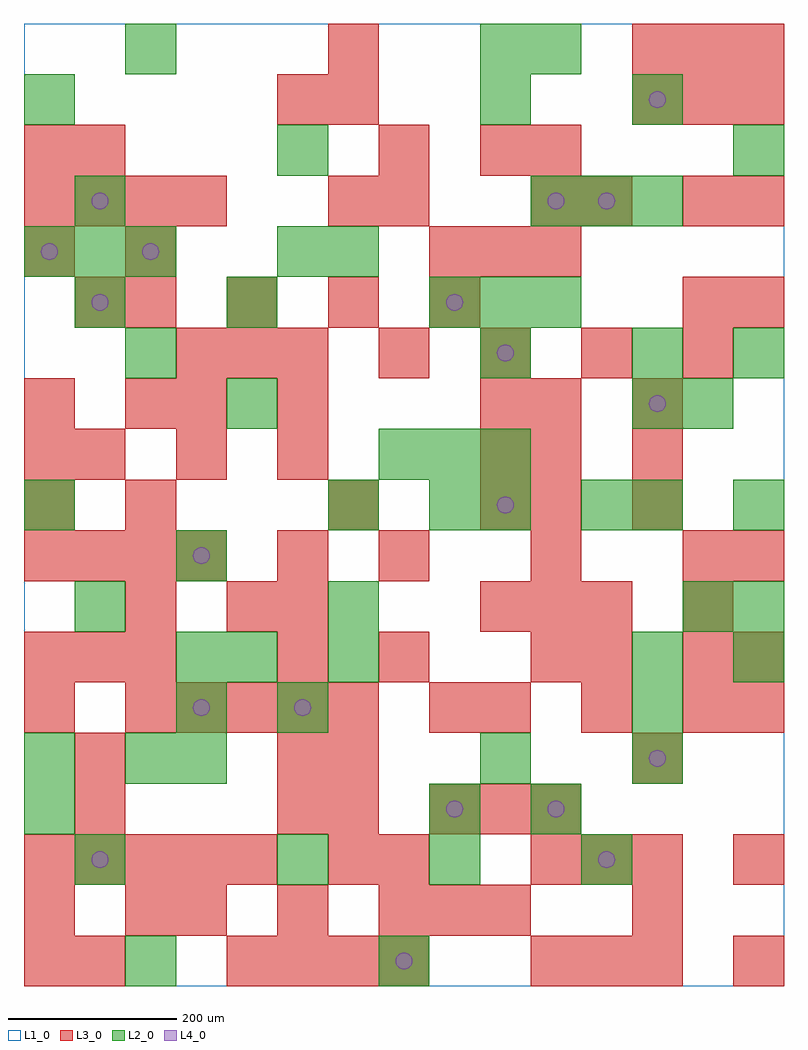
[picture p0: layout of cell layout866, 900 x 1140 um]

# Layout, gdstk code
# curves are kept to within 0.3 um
import gdstk
lib = gdstk.Library(unit=1e-6, precision=1e-09)
def R(c, l, rs):  # rectangles x0, y0, x1, y1
    for r in rs: c.add(gdstk.rectangle(r[:2], r[2:], *l))
def A(c, l, x, y, w, h, nx, ny, dx, dy):  # array of equal rectangles
    R(c, l, [(x+i*dx, y+j*dy, x+i*dx+w, y+j*dy+h) for i in range(nx) for j in range(ny)])
def P(c, l, *ps):  # polygons
    for p in ps: c.add(gdstk.Polygon(p, *l))
L1_0 = (1, 0)
L2_0 = (2, 0)
L3_0 = (3, 0)
L4_0 = (4, 0)

layout866 = lib.new_cell('layout866')
R(layout866, L1_0, [(0,0,900,1140)])
A(layout866, L2_0, 300, 120, 60, 60, 3, 1, 180, 0)
A(layout866, L2_0, 180, 240, 60, 60, 1, 3, 0, 60)
A(layout866, L2_0, 720, 240, 60, 60, 1, 3, 0, 60)
A(layout866, L2_0, 420, 600, 60, 60, 3, 1, 60, 0)
A(layout866, L2_0, 480, 780, 60, 60, 3, 1, 60, 0)
A(layout866, L2_0, 0, 840, 60, 60, 3, 1, 60, 0)
A(layout866, L2_0, 600, 900, 60, 60, 3, 1, 60, 0)
R(layout866, L2_0, [(120,0,180,60), (420,0,480,60), (60,120,120,180), (0,180,60,240), (480,180,540,240), (600,180,660,240), (0,240,60,300), (120,240,180,300), (540,240,600,300), (300,300,360,360), (240,360,300,420), (360,360,420,420), (840,360,900,420), (60,420,120,480), (360,420,420,480), (780,420,840,480), (840,420,900,480), (180,480,240,540), (0,540,60,600), (360,540,420,600), (480,540,540,600), (540,540,600,600), (660,540,720,600), (720,540,780,600), (840,540,900,600), (240,660,300,720), (720,660,780,720), (780,660,840,720), (120,720,180,780), (540,720,600,780), (720,720,780,780), (840,720,900,780), (60,780,120,840), (240,780,300,840), (300,840,360,900), (360,840,420,900), (60,900,120,960), (300,960,360,1020), (840,960,900,1020), (0,1020,60,1080), (540,1020,600,1080), (720,1020,780,1080), (120,1080,180,1140), (540,1080,600,1140), (600,1080,660,1140)])
A(layout866, L3_0, 240, 0, 60, 60, 4, 1, 60, 0)
A(layout866, L3_0, 600, 0, 60, 60, 3, 2, 60, 120)
A(layout866, L3_0, 0, 60, 60, 60, 1, 3, 0, 240)
A(layout866, L3_0, 180, 60, 60, 60, 3, 1, 120, 0)
A(layout866, L3_0, 0, 120, 60, 60, 5, 1, 60, 0)
A(layout866, L3_0, 360, 120, 60, 60, 1, 3, 0, 60)
A(layout866, L3_0, 480, 180, 60, 60, 3, 2, 60, 660)
A(layout866, L3_0, 120, 300, 60, 60, 5, 1, 60, 0)
A(layout866, L3_0, 540, 300, 60, 60, 3, 1, 120, 0)
A(layout866, L3_0, 0, 360, 60, 60, 3, 1, 60, 0)
A(layout866, L3_0, 300, 360, 60, 60, 1, 3, 0, 60)
A(layout866, L3_0, 120, 420, 60, 60, 1, 3, 0, 120)
A(layout866, L3_0, 540, 420, 60, 60, 3, 1, 60, 0)
A(layout866, L3_0, 0, 480, 60, 60, 4, 2, 60, 420)
A(layout866, L3_0, 420, 480, 60, 60, 3, 1, 180, 0)
A(layout866, L3_0, 540, 540, 60, 60, 1, 3, 0, 60)
A(layout866, L3_0, 600, 540, 60, 60, 1, 3, 0, 60)
A(layout866, L3_0, 720, 540, 60, 60, 1, 3, 0, 60)
A(layout866, L3_0, 60, 600, 60, 60, 3, 1, 120, 0)
A(layout866, L3_0, 180, 720, 60, 60, 3, 1, 60, 0)
A(layout866, L3_0, 420, 720, 60, 60, 4, 1, 120, 0)
A(layout866, L3_0, 120, 780, 60, 60, 4, 1, 120, 0)
A(layout866, L3_0, 720, 1020, 60, 60, 3, 2, 60, 60)
R(layout866, L3_0, [(0,0,60,60), (60,0,120,60), (840,0,900,60), (120,60,180,120), (480,60,540,120), (540,60,600,120), (720,60,780,120), (420,120,480,180), (840,120,900,180), (60,180,120,240), (300,180,360,240), (60,240,120,300), (300,240,360,300), (720,240,780,300), (480,300,540,360), (840,300,900,360), (420,360,480,420), (600,360,660,420), (660,360,720,420), (780,360,840,420), (840,360,900,420), (240,420,300,480), (780,420,840,480), (840,480,900,540), (360,540,420,600), (0,600,60,660), (0,660,60,720), (180,660,240,720), (300,660,360,720), (60,780,120,840), (780,780,840,840), (840,780,900,840), (0,840,60,900), (120,840,180,900), (360,900,420,960), (420,900,480,960), (600,900,660,960), (660,900,720,960), (780,900,840,960), (840,900,900,960), (0,960,60,1020), (60,960,120,1020), (420,960,480,1020), (540,960,600,1020), (600,960,660,1020), (300,1020,360,1080), (360,1020,420,1080), (360,1080,420,1140)])
P(layout866, L4_0, [(40,870),(39.239,873.827),(37.071,877.071),(33.827,879.239),(30,880),(26.173,879.239),(22.929,877.071),(20.761,873.827),(20,870),(20.761,866.173),(22.929,862.929),(26.173,860.761),(30,860),(33.827,860.761),(37.071,862.929),(39.239,866.173)],
  [(100,150),(99.239,153.827),(97.071,157.071),(93.827,159.239),(90,160),(86.173,159.239),(82.929,157.071),(80.761,153.827),(80,150),(80.761,146.173),(82.929,142.929),(86.173,140.761),(90,140),(93.827,140.761),(97.071,142.929),(99.239,146.173)],
  [(100,810),(99.239,813.827),(97.071,817.071),(93.827,819.239),(90,820),(86.173,819.239),(82.929,817.071),(80.761,813.827),(80,810),(80.761,806.173),(82.929,802.929),(86.173,800.761),(90,800),(93.827,800.761),(97.071,802.929),(99.239,806.173)],
  [(100,930),(99.239,933.827),(97.071,937.071),(93.827,939.239),(90,940),(86.173,939.239),(82.929,937.071),(80.761,933.827),(80,930),(80.761,926.173),(82.929,922.929),(86.173,920.761),(90,920),(93.827,920.761),(97.071,922.929),(99.239,926.173)],
  [(160,870),(159.239,873.827),(157.071,877.071),(153.827,879.239),(150,880),(146.173,879.239),(142.929,877.071),(140.761,873.827),(140,870),(140.761,866.173),(142.929,862.929),(146.173,860.761),(150,860),(153.827,860.761),(157.071,862.929),(159.239,866.173)],
  [(220,330),(219.239,333.827),(217.071,337.071),(213.827,339.239),(210,340),(206.173,339.239),(202.929,337.071),(200.761,333.827),(200,330),(200.761,326.173),(202.929,322.929),(206.173,320.761),(210,320),(213.827,320.761),(217.071,322.929),(219.239,326.173)],
  [(220,510),(219.239,513.827),(217.071,517.071),(213.827,519.239),(210,520),(206.173,519.239),(202.929,517.071),(200.761,513.827),(200,510),(200.761,506.173),(202.929,502.929),(206.173,500.761),(210,500),(213.827,500.761),(217.071,502.929),(219.239,506.173)],
  [(340,330),(339.239,333.827),(337.071,337.071),(333.827,339.239),(330,340),(326.173,339.239),(322.929,337.071),(320.761,333.827),(320,330),(320.761,326.173),(322.929,322.929),(326.173,320.761),(330,320),(333.827,320.761),(337.071,322.929),(339.239,326.173)],
  [(460,30),(459.239,33.827),(457.071,37.071),(453.827,39.239),(450,40),(446.173,39.239),(442.929,37.071),(440.761,33.827),(440,30),(440.761,26.173),(442.929,22.929),(446.173,20.761),(450,20),(453.827,20.761),(457.071,22.929),(459.239,26.173)],
  [(520,210),(519.239,213.827),(517.071,217.071),(513.827,219.239),(510,220),(506.173,219.239),(502.929,217.071),(500.761,213.827),(500,210),(500.761,206.173),(502.929,202.929),(506.173,200.761),(510,200),(513.827,200.761),(517.071,202.929),(519.239,206.173)],
  [(520,810),(519.239,813.827),(517.071,817.071),(513.827,819.239),(510,820),(506.173,819.239),(502.929,817.071),(500.761,813.827),(500,810),(500.761,806.173),(502.929,802.929),(506.173,800.761),(510,800),(513.827,800.761),(517.071,802.929),(519.239,806.173)],
  [(580,570),(579.239,573.827),(577.071,577.071),(573.827,579.239),(570,580),(566.173,579.239),(562.929,577.071),(560.761,573.827),(560,570),(560.761,566.173),(562.929,562.929),(566.173,560.761),(570,560),(573.827,560.761),(577.071,562.929),(579.239,566.173)],
  [(580,750),(579.239,753.827),(577.071,757.071),(573.827,759.239),(570,760),(566.173,759.239),(562.929,757.071),(560.761,753.827),(560,750),(560.761,746.173),(562.929,742.929),(566.173,740.761),(570,740),(573.827,740.761),(577.071,742.929),(579.239,746.173)],
  [(640,210),(639.239,213.827),(637.071,217.071),(633.827,219.239),(630,220),(626.173,219.239),(622.929,217.071),(620.761,213.827),(620,210),(620.761,206.173),(622.929,202.929),(626.173,200.761),(630,200),(633.827,200.761),(637.071,202.929),(639.239,206.173)],
  [(640,930),(639.239,933.827),(637.071,937.071),(633.827,939.239),(630,940),(626.173,939.239),(622.929,937.071),(620.761,933.827),(620,930),(620.761,926.173),(622.929,922.929),(626.173,920.761),(630,920),(633.827,920.761),(637.071,922.929),(639.239,926.173)],
  [(700,150),(699.239,153.827),(697.071,157.071),(693.827,159.239),(690,160),(686.173,159.239),(682.929,157.071),(680.761,153.827),(680,150),(680.761,146.173),(682.929,142.929),(686.173,140.761),(690,140),(693.827,140.761),(697.071,142.929),(699.239,146.173)],
  [(700,930),(699.239,933.827),(697.071,937.071),(693.827,939.239),(690,940),(686.173,939.239),(682.929,937.071),(680.761,933.827),(680,930),(680.761,926.173),(682.929,922.929),(686.173,920.761),(690,920),(693.827,920.761),(697.071,922.929),(699.239,926.173)],
  [(760,270),(759.239,273.827),(757.071,277.071),(753.827,279.239),(750,280),(746.173,279.239),(742.929,277.071),(740.761,273.827),(740,270),(740.761,266.173),(742.929,262.929),(746.173,260.761),(750,260),(753.827,260.761),(757.071,262.929),(759.239,266.173)],
  [(760,690),(759.239,693.827),(757.071,697.071),(753.827,699.239),(750,700),(746.173,699.239),(742.929,697.071),(740.761,693.827),(740,690),(740.761,686.173),(742.929,682.929),(746.173,680.761),(750,680),(753.827,680.761),(757.071,682.929),(759.239,686.173)],
  [(760,1050),(759.239,1053.827),(757.071,1057.071),(753.827,1059.239),(750,1060),(746.173,1059.239),(742.929,1057.071),(740.761,1053.827),(740,1050),(740.761,1046.173),(742.929,1042.929),(746.173,1040.761),(750,1040),(753.827,1040.761),(757.071,1042.929),(759.239,1046.173)])

lib.write_gds('layout866.gds')
